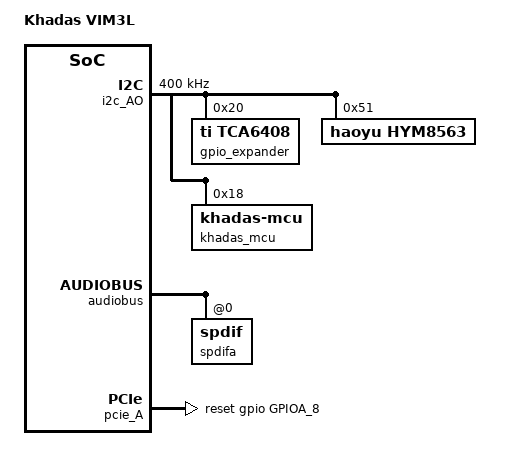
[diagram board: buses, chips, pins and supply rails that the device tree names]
#include "sm1_s905x3_2g_1gbit.dts"

/{
	model = "Khadas VIM3L";
	amlogic-dt-id = "sm1_kvim3l";
	coreelec-dt-id = "sm1_s905d3_khadas_vim3l";

	/delete-node/ memory@00000000;
	/delete-node/ rtc;

	reserved-memory {
		vm0_cma_reserved:linux,vm0_cma {
			status = "disabled";
		};
	};

	auge_sound {
		/delete-property/ avout_mute-gpios;
	};

	cpu_opp_table0: cpu_opp_table0 {
		opp12 {
			opp-hz = /bits/ 64 <2016000000>;
			opp-microvolt = <1010000>;
		};
		opp13 {
			opp-hz = /bits/ 64 <2100000000>;
			opp-microvolt = <1030000>;
		};
	};

	cpus:cpus {
		cpu-map {
			cluster0:cluster0 {
				stock_freq = <1908000000>;
			};
		};
	};

	gpioleds {
		sys_led {
			gpios = <&gpio_ao GPIOAO_4 GPIO_ACTIVE_HIGH>;
		};

		red_led {
			label = "red_led";
			gpios = <&gpio_expander 5 GPIO_ACTIVE_HIGH>;
			linux,default-trigger="none";
		};
	};

	gpio_keypad{
		key-gpios = <&gpio_ao GPIOAO_7 GPIO_ACTIVE_HIGH>;
	};

	unifykey {
		unifykey-num = <1>;
		unifykey-index-0 = <&keysn_0>;

		keysn_0: key_0 {
			key-name = "mac";
			key-device = "normal";
			key-permit = "read","write","del";
		};
	};
};

&i2c0 {
	status = "disabled";
	/delete-property/ pinctrl-names;
	/delete-property/ pinctrl-0;
	/delete-node/ gt9xx@5d;
	/delete-node/ ftxx@38;
};

&i2c_AO {
	status = "okay";
	pinctrl-names="default";
	pinctrl-0=<&ao_i2c_master_pins1>;
	clock-frequency = <400000>;

	gpio_expander: gpio-controller@20 {
		compatible = "ti,tca6408";
		reg = <0x20>;
		gpio-controller;
		#gpio-cells = <2>;
		status = "okay";
	};

	hym8563: hym8563@51 {
		compatible = "haoyu,hym8563";
		reg = <0x51>;
		#clock-cells = <0>;
	};

	khadas_mcu: khadas_mcu@18 {
		compatible = "khadas-mcu";
		reg = <0x18>;
		fan,trig_temp_level0 = <50>;
		fan,trig_temp_level1 = <60>;
		fan,trig_temp_level2 = <70>;
		hwver = "VIM3.V11";
	};
};

&audiobus {
	spdifa: spdif@0 {
		pinctrl-names = "spdif_pins", "spdif_pins_mute";
		pinctrl-0 = <&spdifout>;
		pinctrl-1 = <&spdifout_a_mute>;
	};
};

&pinctrl_periphs {
	/delete-node/ spdifout;

	i2c3_master_pins2: i2c3_pins2 {
		mux {
			drive-strength = <3>;
		};
	};

	bl_pwm_off_pins:bl_pwm_off_pin {
		mux {
			/delete-property/ pins;
			/delete-property/ output-high;
		};
	};
};

&pinctrl_aobus {
	spdifout: spdifout {
		mux { /* GPIOAO_10 */
			groups = "spdif_ao_out";
			function = "spdif_ao_out";
		};
	};

	spdifout_a_mute: spdifout_a_mute {
		mux {
			groups = "GPIOAO_10";
			function = "gpio_aobus";
		};
	};
};

&usb2_phy_v2 {
	gpio-vbus-power = "GPIOA_6";
	gpios = <&gpio GPIOA_6 GPIO_ACTIVE_HIGH>;
};

&usb3_phy_v2 {
	otg = <1>;
};

&pcie_A {
	reset-gpio = <&gpio GPIOA_8 GPIO_ACTIVE_HIGH>;
};

&spicc1 {
	status = "disabled";
	pinctrl-names = "default";
	pinctrl-0 = <&spicc1_pins>;
	cs-gpios = <&gpio GPIOH_6 GPIO_ACTIVE_HIGH>;

	spidev@0 {
		status = "disabled";
		compatible = "linux,spidev";
		/* spi default max clock 100Mhz */
		spi-max-frequency = <100000000>;
		reg = <0>;
	};
};
